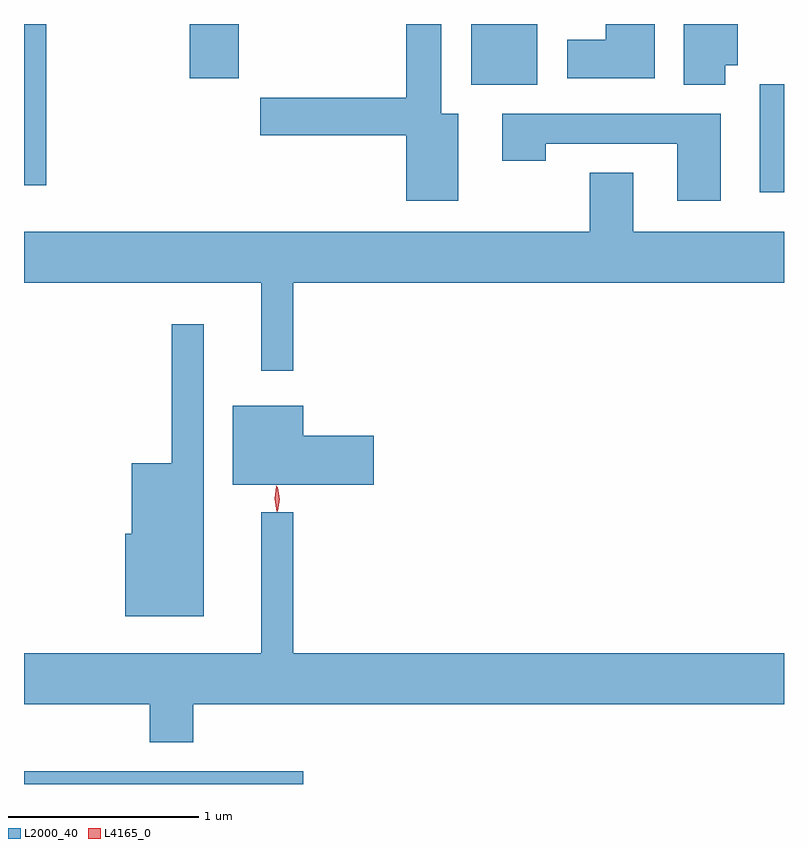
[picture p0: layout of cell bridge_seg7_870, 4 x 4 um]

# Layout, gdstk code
import gdstk
lib = gdstk.Library(unit=1e-6, precision=1e-09)
def R(c, l, rs):  # rectangles x0, y0, x1, y1
    for r in rs: c.add(gdstk.rectangle(r[:2], r[2:], *l))
def P(c, l, *ps):  # polygons
    for p in ps: c.add(gdstk.Polygon(p, *l))
L2000_40 = (2000, 40)
L4165_0 = (4165, 0)

bridge_seg7_870 = lib.new_cell('bridge_seg7_870')
R(bridge_seg7_870, L2000_40, [(599.563,1669.497,601.034,1669.564), (603.436,1672.611,603.563,1673.179), (599.563,1672.648,599.679,1673.497), (601.916,1673.176,602.264,1673.497), (600.436,1673.211,600.694,1673.497)])
P(bridge_seg7_870, L2000_40, [(601.849,1673.024),(601.759,1673.024),(601.759,1673.497),(601.576,1673.497),(601.576,1673.109),(600.806,1673.109),(600.806,1672.911),(601.576,1672.911),(601.576,1672.566),(601.849,1672.566)],
  [(603.254,1673.281),(603.319,1673.281),(603.319,1673.497),(603.036,1673.497),(603.036,1673.176),(603.254,1673.176)],
  [(602.884,1673.497),(602.626,1673.497),(602.626,1673.414),(602.421,1673.414),(602.421,1673.211),(602.884,1673.211)],
  [(603.229,1673.024),(602.081,1673.024),(602.081,1672.776),(602.309,1672.776),(602.309,1672.866),(603.001,1672.866),(603.001,1672.566),(603.229,1672.566)],
  [(600.979,1672.136),(603.563,1672.136),(603.563,1672.404),(602.769,1672.404),(602.769,1672.714),(602.541,1672.714),(602.541,1672.404),(599.563,1672.404),(599.563,1672.136),(600.811,1672.136),(600.811,1671.673),(600.979,1671.673)],
  [(600.509,1671.918),(600.341,1671.918),(600.341,1671.184),(600.131,1671.184),(600.131,1670.814),(600.096,1670.814),(600.096,1670.381),(600.509,1670.381)],
  [(601.404,1671.329),(601.034,1671.329),(601.034,1671.489),(600.661,1671.489),(600.661,1671.071),(601.404,1671.071)],
  [(600.454,1669.916),(603.563,1669.916),(603.563,1670.184),(600.979,1670.184),(600.979,1670.928),(600.811,1670.928),(600.811,1670.184),(599.563,1670.184),(599.563,1669.916),(600.226,1669.916),(600.226,1669.716),(600.454,1669.716)])
P(bridge_seg7_870, L4165_0, [(600.898,1670.933),(600.897,1670.934),(600.888,1670.996),(600.897,1671.059),(600.898,1671.06),(600.898,1671.059),(600.908,1670.996),(600.898,1670.934)],
  [(600.892,1670.93),(600.892,1670.93),(600.882,1670.998),(600.891,1671.065),(600.891,1671.066),(600.892,1671.065),(600.902,1670.998),(600.892,1670.93)])

lib.write_gds('bridge_seg7_870.gds')
